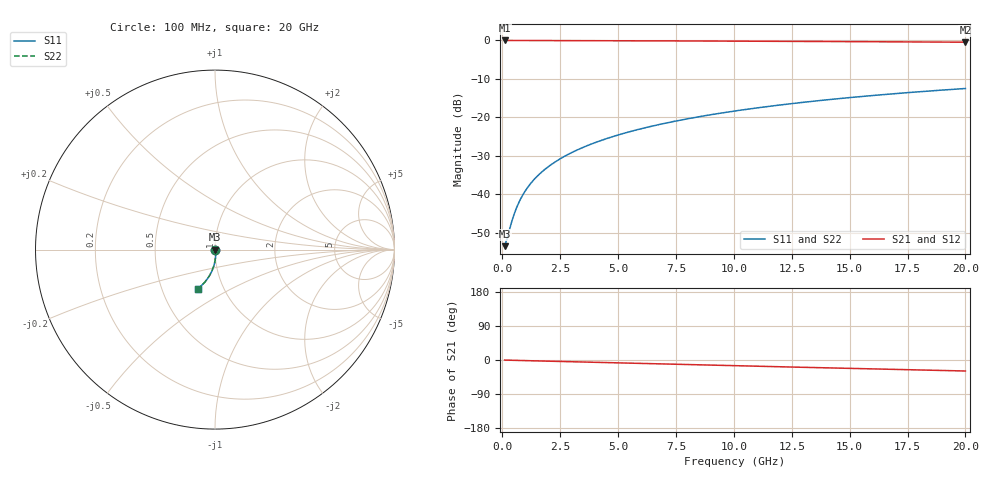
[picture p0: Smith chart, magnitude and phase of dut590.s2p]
! Touchstone file exported from HFSS 2026.1.0
!  File:  C:/ffzhzh/LocalFiles/Ansys_Project_Files/temp_train_TMRDL_590_1783008397_51716.aedt
!  Generated:  12:07:54 AM Jul  3, 2026
!  Design:  TMRDL
!  Project:  temp_train_TMRDL_590_1783008397_51716
! Variables:
!  h_bsmrdl = 2um
!  h_ox = 20um
!  h_rdl = 5um
!  h_sub = 80um
!  h_tmrdl = 3.46um
!  h_tsv = 80um
!  h_via = 3um
!  l_bsmrdl = 300um
!  l_sub = 830.25um
!  l_tmrdl = 430.25um
!  m_sub = 200um
!  pitch = 26.72um
!  r_tsv = 6um
!  s_tmrdl = 10um
!  w_bsmrdl = 18um
!  w_sub = 500um
!  w_tmrdl = 25.66um
!  x_tsv_center1 = 443.08um
!  x_tsv_center2 = 761.08um
!  x_tsv_center3 = 1216.99um
!  x_tsv_center4 = 1534.99um
!  x_tsv_center5 = 1990.9um
!  x_tsv_center6 = 2308.9um
# GHz S MA R 50.000000
! Terminal data exported
! Port[1] = TM_RDL1_1_T1
! Port[2] = TM_RDL1_1_T2
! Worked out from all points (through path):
!   200 points, 100 MHz to 20 GHz, reference 50 ohm
!   highest |S21| = -0.02 dB at 100 MHz (marker M1); lowest = -0.5 dB at 20 GHz (marker M2)
!   group delay of S21, straight-line fit = 4.02 ps
!   lowest |S11| = -53.5 dB at 100 MHz (marker M3), VSWR 1.00, Z = 50.2 - j0.0535 ohm
!   |S11| at or under -10 dB: start of sweep to end of sweep
!   |S22| runs from -53.5 to -12.5 dB; largest |S21 - S12| = 3.1e-15
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0.1  0.002114 -14.6  0.998 -0.2  0.998 -0.2  0.002114 -14.6
! Gamma 0 0 0 0
! Port Impedance 50 0 50 0
0.2  0.00263 -26.6  0.9976 -0.4  0.9976 -0.4  0.00263 -26.6
0.4  0.004335 -43.2  0.9968 -0.7  0.9968 -0.7  0.004335 -43.2
0.5  0.005379 -49.1  0.9964 -0.9  0.9964 -0.9  0.005379 -49.1
0.6  0.006486 -53.8  0.9961 -1.0  0.9961 -1.0  0.006486 -53.8
0.7  0.007629 -57.7  0.9958 -1.2  0.9958 -1.2  0.007628 -57.7
0.9  0.009965 -63.7  0.9953 -1.5  0.9953 -1.5  0.009964 -63.7
1.2  0.01351 -69.8  0.9948 -1.9  0.9948 -1.9  0.01351 -69.8
1.4  0.01588 -72.7  0.9946 -2.2  0.9946 -2.2  0.01588 -72.7
1.6  0.01825 -75.0  0.9943 -2.5  0.9943 -2.5  0.01824 -75.0
2.1  0.02416 -79.1  0.9938 -3.3  0.9938 -3.3  0.02416 -79.1
2.7  0.03128 -82.3  0.9931 -4.2  0.9931 -4.2  0.03128 -82.4
3.5  0.04082 -85.3  0.992 -5.4  0.992 -5.4  0.04082 -85.3
4.2  0.04923 -87.3  0.9909 -6.5  0.9909 -6.5  0.04922 -87.3
5  0.05891 -89.2  0.9895 -7.7  0.9895 -7.7  0.0589 -89.2
5.9  0.06989 -91.0  0.9878 -9.0  0.9878 -9.0  0.06987 -91.0
6.8  0.08092 -92.7  0.9859 -10.3  0.9859 -10.3  0.08091 -92.7
8.3  0.09939 -95.4  0.9825 -12.5  0.9825 -12.5  0.09937 -95.4
10.1  0.1215 -98.4  0.978 -15.1  0.978 -15.1  0.1215 -98.4
13.4  0.1615 -103.6  0.9688 -19.9  0.9688 -19.9  0.1615 -103.7
16.7  0.2002 -108.7  0.9585 -24.5  0.9585 -24.5  0.2001 -108.8
20  0.2369 -113.6  0.9472 -29.0  0.9472 -29.0  0.2368 -113.6
